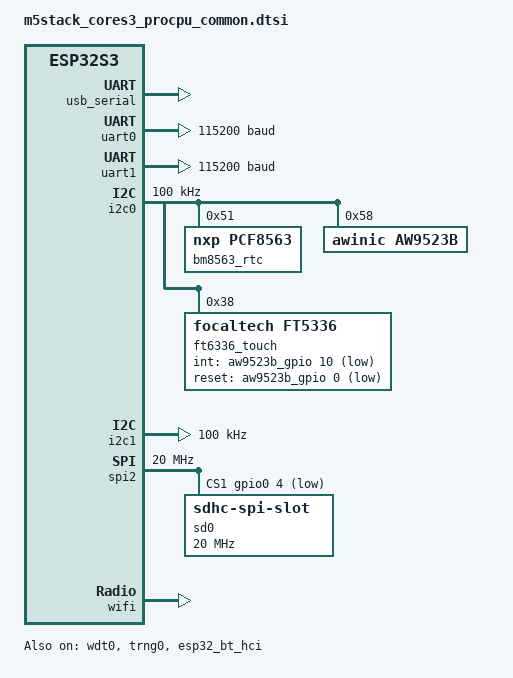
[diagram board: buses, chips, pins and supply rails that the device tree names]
/*
 * Copyright (c) 2024 Zhang Xingtao <zhxt@live.cn>
 *
 * SPDX-License-Identifier: Apache-2.0
 */

#include <espressif/esp32s3/esp32s3_wroom_n16r8.dtsi>
#include <espressif/partitions_0x0_amp.dtsi>
#include "m5stack_cores3-pinctrl.dtsi"
#include "m5stack_mbus_connectors.dtsi"
#include "grove_connectors.dtsi"

/ {
	chosen {
		zephyr,sram = &sram1;
		zephyr,console = &usb_serial;
		zephyr,shell-uart = &usb_serial;
		zephyr,flash = &flash0;
		zephyr,code-partition = &slot0_partition;
		zephyr,rtc = &bm8563_rtc;
		zephyr,bt-hci = &esp32_bt_hci;
		zephyr,touch = &ft6336_touch;
	};

	aliases {
		uart-0 = &uart0;
		uart-1 = &uart1;
		uart-2 = &uart2;
		i2c-0 = &i2c0;
		i2c-1 = &i2c1;
		watchdog0 = &wdt0;
		rtc = &bm8563_rtc;
		sdhc0 = &sd0;
	};

	lvgl_pointer {
		compatible = "zephyr,lvgl-pointer-input";
		input = <&ft6336_touch>;
	};
};

&usb_serial {
	status = "okay";
};

&uart0 {
	status = "okay";
	current-speed = <115200>;
	pinctrl-0 = <&uart0_default>;
	pinctrl-names = "default";
};

&uart1 {
	status = "okay";
	current-speed = <115200>;
	pinctrl-0 = <&uart1_default>;
	pinctrl-names = "default";
};

&uart2 {
	status = "disabled";
	current-speed = <115200>;
	pinctrl-0 = <&uart2_default>;
	pinctrl-names = "default";
};

&gpio0 {
	status = "okay";
};

&gpio1 {
	status = "okay";
};

&i2c0 {
	status = "okay";
	clock-frequency = <I2C_BITRATE_STANDARD>;
	pinctrl-0 = <&i2c0_default>;
	pinctrl-names = "default";

	bm8563_rtc: bm8563@51 {
		compatible = "nxp,pcf8563";
		reg = <0x51>;
		status = "okay";
	};

	aw9523b: aw9523b@58 {
		compatible = "awinic,aw9523b";
		reg = <0x58>;
		status = "okay";

		aw9523b_gpio: gpio {
			compatible = "awinic,aw9523b-gpio";
			gpio-controller;
			#gpio-cells = <2>;
			port0-push-pull;
			int-gpios = <&gpio0 21 GPIO_ACTIVE_LOW>;
		};
	};

	ft6336_touch: ft5336@38 {
		status = "okay";
		compatible = "focaltech,ft5336";
		reg = <0x38>;
		int-gpios = <&aw9523b_gpio 10 GPIO_ACTIVE_LOW>;
		reset-gpios = <&aw9523b_gpio 0 GPIO_ACTIVE_LOW>;
	};
};

&i2c1 {
	status = "okay";
	clock-frequency = <I2C_BITRATE_STANDARD>;
	pinctrl-0 = <&i2c1_default>;
	pinctrl-names = "default";
};

&spi2 {
	status = "okay";
	#address-cells = <1>;
	#size-cells = <0>;
	status = "okay";
	pinctrl-0 = <&spim2_default>;
	pinctrl-names = "default";
	clock-frequency = <20000000>;
	cs-gpios = <&gpio0 3 GPIO_ACTIVE_LOW>, /* LCD     */
		   <&gpio0 4 GPIO_ACTIVE_LOW>; /* TF-CARD */

	sd0: sd@1 {
		compatible = "zephyr,sdhc-spi-slot";
		reg = <1>;
		status = "okay";
		spi-max-frequency = <20000000>;
		mmc {
			compatible = "zephyr,sdmmc-disk";
			disk-name = "SD";
			status = "okay";
		};

	};
};

&twai {
	status = "disabled";
	pinctrl-0 = <&twai_default>;
	pinctrl-names = "default";
};

&wdt0 {
	status = "okay";
};

&trng0 {
	status = "okay";
};

&esp32_bt_hci {
	status = "okay";
};

&wifi {
	status = "okay";
};
